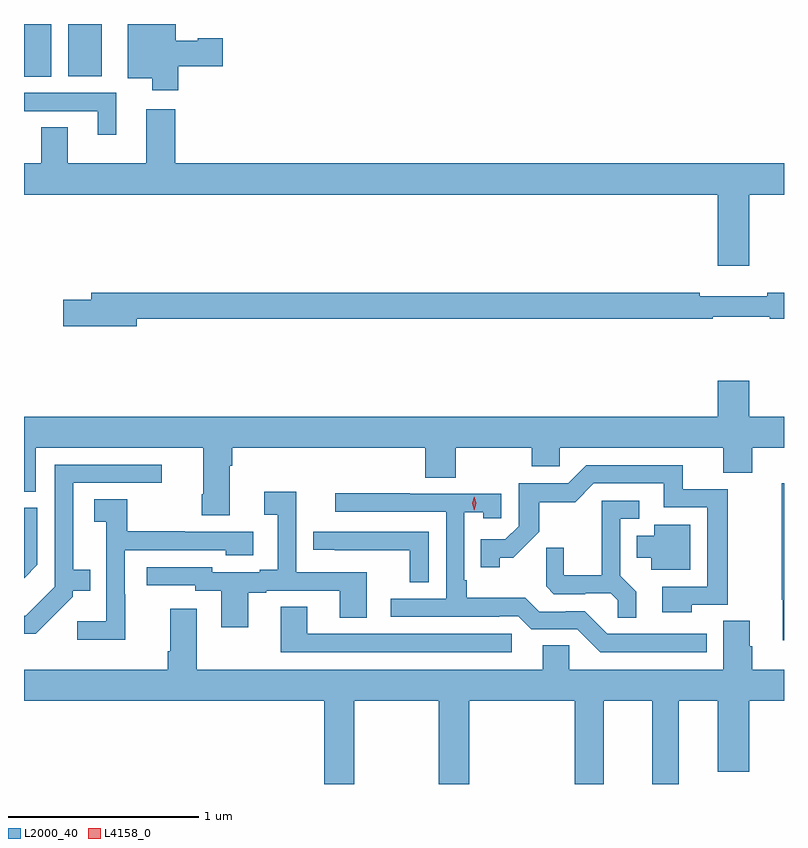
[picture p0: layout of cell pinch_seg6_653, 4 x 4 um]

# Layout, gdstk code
import gdstk
lib = gdstk.Library(unit=1e-6, precision=1e-09)
def R(c, l, rs):  # rectangles x0, y0, x1, y1
    for r in rs: c.add(gdstk.rectangle(r[:2], r[2:], *l))
def P(c, l, *ps):  # polygons
    for p in ps: c.add(gdstk.Polygon(p, *l))
L2000_40 = (2000, 40)
L4158_0 = (4158, 0)

pinch_seg6_653 = lib.new_cell('pinch_seg6_653')
R(pinch_seg6_653, L2000_40, [(389.129,919.984,389.272,920.262), (389.36,919.988,389.536,920.262)])
P(pinch_seg6_653, L2000_40, [(389.939,920.039),(390.175,920.039),(390.175,920.186),(390.042,920.186),(390.042,920.173),(389.926,920.173),(389.926,920.262),(389.675,920.262),(389.675,919.976),(389.804,919.976),(389.804,919.914),(389.939,919.914)],
  [(389.614,919.899),(389.128,919.899),(389.128,919.803),(389.516,919.803),(389.516,919.68),(389.614,919.68)],
  [(392.944,919.364),(393.128,919.364),(393.128,919.528),(389.924,919.528),(389.924,919.813),(389.771,919.813),(389.771,919.528),(389.359,919.528),(389.359,919.718),(389.219,919.718),(389.219,919.528),(389.128,919.528),(389.128,919.364),(392.78,919.364),(392.78,918.99),(392.944,918.99)],
  [(389.722,918.712),(392.752,918.712),(392.752,918.72),(393.052,918.72),(393.052,918.712),(393.128,918.712),(393.128,918.848),(393.04,918.848),(393.04,918.829),(392.684,918.829),(392.684,918.848),(389.483,918.848),(389.483,918.812),(389.334,918.812),(389.334,918.67),(389.722,918.67)],
  [(390.211,917.936),(390.224,917.936),(390.224,918.032),(391.241,918.032),(391.241,917.875),(391.401,917.875),(391.401,918.032),(391.801,918.032),(391.801,917.934),(391.947,917.934),(391.947,918.032),(392.807,918.032),(392.807,917.899),(392.96,917.899),(392.96,918.032),(393.128,918.032),(393.128,918.196),(392.944,918.196),(392.944,918.385),(392.78,918.385),(392.78,918.196),(389.128,918.196),(389.128,917.8),(389.191,917.8),(389.191,918.032),(390.071,918.032),(390.071,917.788),(390.064,917.788),(390.064,917.676),(390.211,917.676)],
  [(389.385,917.247),(389.385,917.279),(389.477,917.279),(389.477,917.389),(389.386,917.389),(389.386,917.847),(389.854,917.847),(389.854,917.943),(389.289,917.943),(389.289,917.301),(389.136,917.148),(389.128,917.148),(389.128,917.052),(389.19,917.052)],
  [(392.643,917.205),(392.833,917.205),(392.833,917.814),(392.594,917.814),(392.594,917.94),(392.088,917.94),(391.992,917.844),(391.731,917.844),(391.731,917.619),(391.662,917.55),(391.531,917.55),(391.531,917.403),(391.632,917.403),(391.632,917.453),(391.702,917.453),(391.84,917.59),(391.84,917.746),(392.029,917.746),(392.127,917.844),(392.495,917.844),(392.495,917.718),(392.724,917.718),(392.724,917.301),(392.487,917.301),(392.487,917.165),(392.643,917.165)],
  [(393.128,917.845),(393.115,917.845),(393.115,917.231),(393.122,917.231),(393.122,917.019),(393.128,917.019)],
  [(390.307,917.268),(390.403,917.268),(390.403,917.28),(390.791,917.28),(390.791,917.137),(390.931,917.137),(390.931,917.376),(390.561,917.376),(390.561,917.8),(390.393,917.8),(390.393,917.68),(390.464,917.68),(390.464,917.389),(390.368,917.389),(390.368,917.376),(390.12,917.376),(390.12,917.403),(389.775,917.403),(389.775,917.307),(390.03,917.307),(390.03,917.28),(390.167,917.28),(390.167,917.088),(390.307,917.088)],
  [(392.722,917.052),(392.199,917.052),(392.079,917.172),(391.978,917.172),(391.978,917.169),(391.839,917.169),(391.766,917.242),(391.459,917.242),(391.459,917.335),(391.446,917.335),(391.446,917.693),(391.545,917.693),(391.545,917.661),(391.641,917.661),(391.641,917.79),(391.157,917.79),(391.157,917.793),(390.765,917.793),(390.765,917.694),(391.35,917.694),(391.35,917.238),(391.059,917.238),(391.059,917.142),(391.628,917.142),(391.628,917.145),(391.728,917.145),(391.797,917.076),(392.04,917.076),(392.16,916.956),(392.722,916.956)],
  [(389.661,917.261),(389.658,917.261),(389.658,917.493),(390.189,917.493),(390.189,917.465),(390.334,917.465),(390.334,917.589),(389.975,917.589),(389.975,917.592),(389.671,917.592),(389.671,917.762),(389.499,917.762),(389.499,917.641),(389.562,917.641),(389.562,917.119),(389.409,917.119),(389.409,917.021),(389.661,917.021)],
  [(392.351,917.273),(392.265,917.359),(392.265,917.658),(392.365,917.658),(392.365,917.754),(392.168,917.754),(392.168,917.362),(391.97,917.362),(391.97,917.505),(391.876,917.505),(391.876,917.303),(391.917,917.262),(392.082,917.262),(392.082,917.265),(392.216,917.265),(392.253,917.228),(392.253,917.137),(392.351,917.137)],
  [(389.199,917.417),(389.199,917.715),(389.128,917.715),(389.128,917.346)],
  [(392.635,917.626),(392.444,917.626),(392.444,917.569),(392.354,917.569),(392.354,917.453),(392.429,917.453),(392.429,917.39),(392.635,917.39)],
  [(391.257,917.589),(390.651,917.589),(390.651,917.494),(390.763,917.494),(390.763,917.493),(391.159,917.493),(391.159,917.323),(391.257,917.323)],
  [(391.696,917.052),(390.619,917.052),(390.619,917.195),(390.479,917.195),(390.479,916.956),(391.696,916.956)],
  [(390.867,916.7),(391.312,916.7),(391.312,916.262),(391.472,916.262),(391.472,916.7),(392.027,916.7),(392.027,916.262),(392.179,916.262),(392.179,916.7),(392.435,916.7),(392.435,916.262),(392.575,916.262),(392.575,916.7),(392.78,916.7),(392.78,916.326),(392.944,916.326),(392.944,916.7),(393.128,916.7),(393.128,916.864),(392.96,916.864),(392.96,916.986),(392.947,916.986),(392.947,917.12),(392.807,917.12),(392.807,916.864),(391.998,916.864),(391.998,916.991),(391.859,916.991),(391.859,916.864),(390.037,916.864),(390.037,917.185),(389.897,917.185),(389.897,916.96),(389.885,916.96),(389.885,916.864),(389.128,916.864),(389.128,916.7),(390.707,916.7),(390.707,916.262),(390.867,916.262)])
P(pinch_seg6_653, L4158_0, [(391.497,917.703),(391.497,917.703),(391.487,917.739),(391.497,917.775),(391.497,917.775),(391.498,917.775),(391.507,917.739),(391.498,917.703)])

lib.write_gds('pinch_seg6_653.gds')
